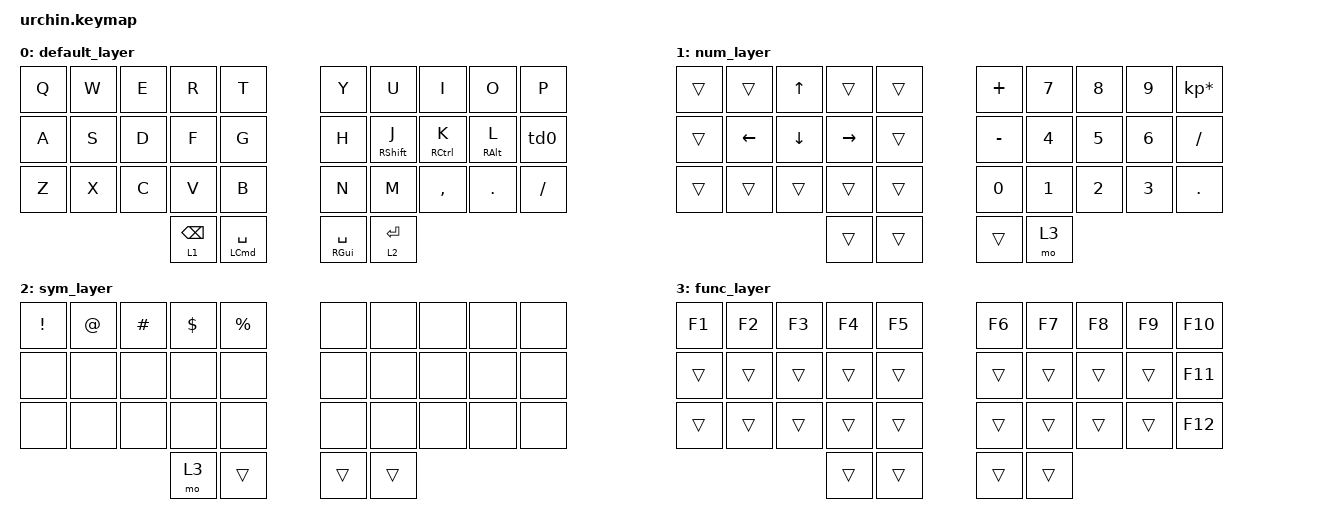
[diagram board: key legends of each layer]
/*
 * Copyright (c) 2020 The ZMK Contributors
 *
 * SPDX-License-Identifier: MIT
 */

#include <behaviors.dtsi>
#include <dt-bindings/zmk/keys.h>
#include <dt-bindings/zmk/bt.h>
#include <dt-bindings/zmk/outputs.h>
#include <dt-bindings/zmk/mouse.h>

// Layer definitions

#define BASE 0

// -----------------

&mt {
    tapping-term-ms = <200>;
    flavor = "tap-preferred";
};

/ {
    macros {
        // sometimes my device thinks a modifier is being held down
        // pressing all modifiers fixes it.
    };

    combos {
        compatible = "zmk,combos";

        combo_cword {
            bindings = <&caps_word>;
            key-positions = <13 16>;
            timeout-ms = <50>;
        };

        combo_tab {
            bindings = <&kp TAB>;
            key-positions = <1 2>;
            timeout-ms = <50>;
        };

        combo_del {
            bindings = <&kp DEL>;
            key-positions = <7 8>;
            timeout-ms = <50>;
        };
    };

    behaviors {
        hm: homerow_mods {
            compatible = "zmk,behavior-hold-tap";
            label = "HOMEROW_MODS";
            bindings = <&kp>, <&kp>;

            #binding-cells = <2>;
            tapping-term-ms = <200>;
            quick-tap-ms = <0>;
            flavor = "tap-preferred";
        };

        td0: tap_dance_0 {
            compatible = "zmk,behavior-tap-dance";
            label = "TAP_DANCE_0";
            #binding-cells = <0>;
            bindings = <&hm RGUI SEMI>, <&kp SQT>;

            tapping-term-ms = <200>;
        };
    };

    keymap {
        compatible = "zmk,keymap";

        // Base alpha layer

        default_layer {
            bindings = <
  &kp Q  &kp W  &kp E  &kp R       &kp T             &kp Y                &kp U              &kp I                &kp O            &kp P
  &kp A  &kp S  &kp D  &kp F       &kp G             &kp H                &hm RIGHT_SHIFT J  &hm RIGHT_CONTROL K  &hm RIGHT_ALT L  &td0
  &kp Z  &kp X  &kp C  &kp V       &kp B             &kp N                &kp M              &kp COMMA            &kp DOT          &kp FSLH
                       &lt 1 BSPC  &mt LCMD SPACE    &mt RIGHT_GUI SPACE  &lt 2 RET
            >;
        };

        num_layer {
            bindings = <
  &trans  &trans    &kp UP    &trans     &trans    &kp PLUS   &kp N7  &kp N8  &kp N9  &kp KP_MULTIPLY
  &trans  &kp LEFT  &kp DOWN  &kp RIGHT  &trans    &kp MINUS  &kp N4  &kp N5  &kp N6  &kp FSLH
  &trans  &trans    &trans    &trans     &trans    &kp N0     &kp N1  &kp N2  &kp N3  &kp DOT
                              &trans     &trans    &trans     &mo 3
            >;
        };

        sym_layer {
            bindings = <
  &kp EXCL  &kp AT  &kp HASH  &kp DLLR  &kp PRCNT    &none   &none   &none  &none  &none
  &none     &none   &none     &none     &none        &none   &none   &none  &none  &none
  &none     &none   &none     &none     &none        &none   &none   &none  &none  &none
                              &mo 3     &trans       &trans  &trans
            >;
        };

        func_layer {
            bindings = <
  &kp F1  &kp F2  &kp F3  &kp F4  &kp F5    &kp F6  &kp F7  &kp F8  &kp F9  &kp F10
  &trans  &trans  &trans  &trans  &trans    &trans  &trans  &trans  &trans  &kp F11
  &trans  &trans  &trans  &trans  &trans    &trans  &trans  &trans  &trans  &kp F12
                          &trans  &trans    &trans  &trans
            >;
        };
    };
};
